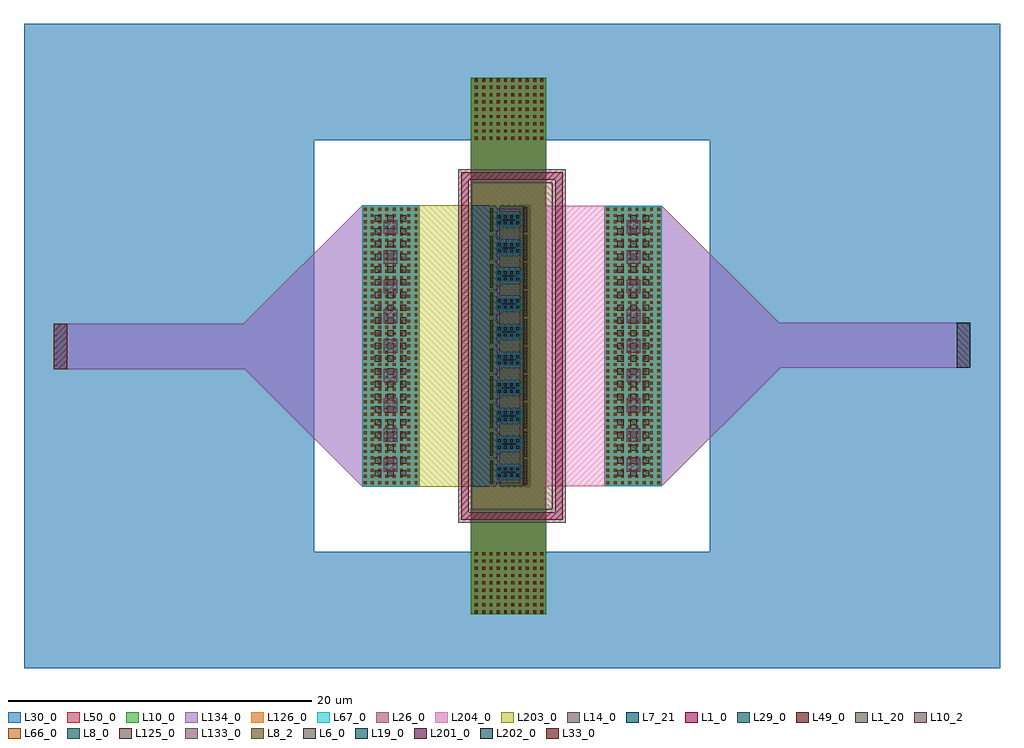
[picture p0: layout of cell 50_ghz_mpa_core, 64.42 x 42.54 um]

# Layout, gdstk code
from math import pi, radians
import gdstk
lib = gdstk.Library(unit=1e-6, precision=1e-09)
def R(c, l, rs):  # rectangles x0, y0, x1, y1
    for r in rs: c.add(gdstk.rectangle(r[:2], r[2:], *l))
def A(c, l, x, y, w, h, nx, ny, dx, dy):  # array of equal rectangles
    R(c, l, [(x+i*dx, y+j*dy, x+i*dx+w, y+j*dy+h) for i in range(nx) for j in range(ny)])
def P(c, l, *ps):  # polygons
    for p in ps: c.add(gdstk.Polygon(p, *l))
L1_0 = (1, 0)
L1_20 = (1, 20)
L6_0 = (6, 0)
L7_21 = (7, 21)
L8_0 = (8, 0)
L8_2 = (8, 2)
L10_0 = (10, 0)
L10_2 = (10, 2)
L14_0 = (14, 0)
L19_0 = (19, 0)
L26_0 = (26, 0)
L29_0 = (29, 0)
L30_0 = (30, 0)
L33_0 = (33, 0)
L49_0 = (49, 0)
L50_0 = (50, 0)
L66_0 = (66, 0)
L67_0 = (67, 0)
L125_0 = (125, 0)
L126_0 = (126, 0)
L133_0 = (133, 0)
L134_0 = (134, 0)
L201_0 = (201, 0)
L202_0 = (202, 0)
L203_0 = (203, 0)
L204_0 = (204, 0)

npn13g2_1 = lib.new_cell('npn13G2$1')
A(npn13g2_1, L1_0, -0.925, 0.98, 1.85, 0.3, 10, 1, 1.85, 0)
P(npn13g2_1, L1_0, [(-3.15,-3.13),(-3.15,3.58),(19.3,3.58),(19.3,3.08),(-2.65,3.08),(-2.65,-2.63),(19.3,-2.63),(19.3,3.58),(19.8,3.58),(19.8,-3.13)])
P(npn13g2_1, L1_20, [(-0.235,-0.83),(-0.445,-0.62),(-0.925,-0.62),(-0.925,0.98),(0.925,0.98),(0.925,-0.62),(0.445,-0.62),(0.235,-0.83)],
  [(1.615,-0.83),(1.405,-0.62),(0.925,-0.62),(0.925,0.98),(2.775,0.98),(2.775,-0.62),(2.295,-0.62),(2.085,-0.83)],
  [(3.465,-0.83),(3.255,-0.62),(2.775,-0.62),(2.775,0.98),(4.625,0.98),(4.625,-0.62),(4.145,-0.62),(3.935,-0.83)],
  [(5.315,-0.83),(5.105,-0.62),(4.625,-0.62),(4.625,0.98),(6.475,0.98),(6.475,-0.62),(5.995,-0.62),(5.785,-0.83)],
  [(7.165,-0.83),(6.955,-0.62),(6.475,-0.62),(6.475,0.98),(8.325,0.98),(8.325,-0.62),(7.845,-0.62),(7.635,-0.83)],
  [(9.015,-0.83),(8.805,-0.62),(8.325,-0.62),(8.325,0.98),(10.175,0.98),(10.175,-0.62),(9.695,-0.62),(9.485,-0.83)],
  [(10.865,-0.83),(10.655,-0.62),(10.175,-0.62),(10.175,0.98),(12.025,0.98),(12.025,-0.62),(11.545,-0.62),(11.335,-0.83)],
  [(12.715,-0.83),(12.505,-0.62),(12.025,-0.62),(12.025,0.98),(13.875,0.98),(13.875,-0.62),(13.395,-0.62),(13.185,-0.83)],
  [(14.565,-0.83),(14.355,-0.62),(13.875,-0.62),(13.875,0.98),(15.725,0.98),(15.725,-0.62),(15.245,-0.62),(15.035,-0.83)],
  [(16.415,-0.83),(16.205,-0.62),(15.725,-0.62),(15.725,0.98),(17.575,0.98),(17.575,-0.62),(17.095,-0.62),(16.885,-0.83)])
A(npn13g2_1, L6_0, -0.76, -1.22, 1.52, 0.16, 10, 1, 1.85, 0)
A(npn13g2_1, L6_0, -0.825, 1.05, 1.65, 0.16, 10, 1, 1.85, 0)
P(npn13g2_1, L7_21, [(-0.975,-2.43),(-0.975,-0.9),(-0.555,-0.48),(-0.555,0.69),(-0.305,0.94),(0.305,0.94),(0.555,0.69),(0.555,-0.48),(0.975,-0.9),(0.975,-2.43)],
  [(0.875,-2.43),(0.875,-0.9),(1.295,-0.48),(1.295,0.69),(1.545,0.94),(2.155,0.94),(2.405,0.69),(2.405,-0.48),(2.825,-0.9),(2.825,-2.43)],
  [(2.725,-2.43),(2.725,-0.9),(3.145,-0.48),(3.145,0.69),(3.395,0.94),(4.005,0.94),(4.255,0.69),(4.255,-0.48),(4.675,-0.9),(4.675,-2.43)],
  [(4.575,-2.43),(4.575,-0.9),(4.995,-0.48),(4.995,0.69),(5.245,0.94),(5.855,0.94),(6.105,0.69),(6.105,-0.48),(6.525,-0.9),(6.525,-2.43)],
  [(6.425,-2.43),(6.425,-0.9),(6.845,-0.48),(6.845,0.69),(7.095,0.94),(7.705,0.94),(7.955,0.69),(7.955,-0.48),(8.375,-0.9),(8.375,-2.43)],
  [(8.275,-2.43),(8.275,-0.9),(8.695,-0.48),(8.695,0.69),(8.945,0.94),(9.555,0.94),(9.805,0.69),(9.805,-0.48),(10.225,-0.9),(10.225,-2.43)],
  [(10.125,-2.43),(10.125,-0.9),(10.545,-0.48),(10.545,0.69),(10.795,0.94),(11.405,0.94),(11.655,0.69),(11.655,-0.48),(12.075,-0.9),(12.075,-2.43)],
  [(11.975,-2.43),(11.975,-0.9),(12.395,-0.48),(12.395,0.69),(12.645,0.94),(13.255,0.94),(13.505,0.69),(13.505,-0.48),(13.925,-0.9),(13.925,-2.43)],
  [(13.825,-2.43),(13.825,-0.9),(14.245,-0.48),(14.245,0.69),(14.495,0.94),(15.105,0.94),(15.355,0.69),(15.355,-0.48),(15.775,-0.9),(15.775,-2.43)],
  [(15.675,-2.43),(15.675,-0.9),(16.095,-0.48),(16.095,0.69),(16.345,0.94),(16.955,0.94),(17.205,0.69),(17.205,-0.48),(17.625,-0.9),(17.625,-2.43)])
A(npn13g2_1, L8_0, -0.35, -0.785, 0.7, 1.555, 10, 1, 1.85, 0)
R(npn13g2_1, L8_0, [(-0.975,-1.26,17.625,-1.02), (-0.925,1.02,17.575,1.46)])
R(npn13g2_1, L8_2, [(-0.975,-1.26,17.625,-1.02), (-0.925,1.02,17.575,1.46)])
R(npn13g2_1, L10_0, [(-0.925,-0.785,17.575,0.77)])
R(npn13g2_1, L10_2, [(-0.745,-0.785,17.395,0.77)])
P(npn13g2_1, L14_0, [(-3.35,-3.33),(-3.35,3.78),(19.1,3.78),(19.1,2.88),(-2.45,2.88),(-2.45,-2.43),(19.1,-2.43),(19.1,3.78),(20,3.78),(20,-3.33)])
A(npn13g2_1, L19_0, -0.3, -0.72, 0.19, 0.19, 1, 4, 0, 0.41)
A(npn13g2_1, L19_0, 0.11, -0.72, 0.19, 0.19, 1, 4, 0, 0.41)
A(npn13g2_1, L19_0, 1.55, -0.72, 0.19, 0.19, 1, 4, 0, 0.41)
A(npn13g2_1, L19_0, 1.96, -0.72, 0.19, 0.19, 1, 4, 0, 0.41)
A(npn13g2_1, L19_0, 3.4, -0.72, 0.19, 0.19, 1, 4, 0, 0.41)
A(npn13g2_1, L19_0, 3.81, -0.72, 0.19, 0.19, 1, 4, 0, 0.41)
A(npn13g2_1, L19_0, 5.25, -0.72, 0.19, 0.19, 1, 4, 0, 0.41)
A(npn13g2_1, L19_0, 5.66, -0.72, 0.19, 0.19, 1, 4, 0, 0.41)
A(npn13g2_1, L19_0, 7.1, -0.72, 0.19, 0.19, 1, 4, 0, 0.41)
A(npn13g2_1, L19_0, 7.51, -0.72, 0.19, 0.19, 1, 4, 0, 0.41)
A(npn13g2_1, L19_0, 8.95, -0.72, 0.19, 0.19, 1, 4, 0, 0.41)
A(npn13g2_1, L19_0, 9.36, -0.72, 0.19, 0.19, 1, 4, 0, 0.41)
A(npn13g2_1, L19_0, 10.8, -0.72, 0.19, 0.19, 1, 4, 0, 0.41)
A(npn13g2_1, L19_0, 11.21, -0.72, 0.19, 0.19, 1, 4, 0, 0.41)
A(npn13g2_1, L19_0, 12.65, -0.72, 0.19, 0.19, 1, 4, 0, 0.41)
A(npn13g2_1, L19_0, 13.06, -0.72, 0.19, 0.19, 1, 4, 0, 0.41)
A(npn13g2_1, L19_0, 14.5, -0.72, 0.19, 0.19, 1, 4, 0, 0.41)
A(npn13g2_1, L19_0, 14.91, -0.72, 0.19, 0.19, 1, 4, 0, 0.41)
A(npn13g2_1, L19_0, 16.35, -0.72, 0.19, 0.19, 1, 4, 0, 0.41)
A(npn13g2_1, L19_0, 16.76, -0.72, 0.19, 0.19, 1, 4, 0, 0.41)
R(npn13g2_1, L26_0, [(-2.45,-2.43,19.1,2.88)])
A(npn13g2_1, L33_0, -0.035, -0.45, 0.07, 0.9, 10, 1, 1.85, 0)
npn13g2_1.add(gdstk.Label('npn13G2', (0.015,2.31), layer=63, texttype=0))
npn13g2_1.add(gdstk.Label('C', (8.325,1.24), layer=63, texttype=0))
npn13g2_1.add(gdstk.Label('B', (8.325,-1.14), layer=63, texttype=0))
npn13g2_1.add(gdstk.Label('E', (8.325,-0.007), layer=63, texttype=0))
npn13g2_1.add(gdstk.Label('Ae=10*1*0.07*0.90', (-1.977,-2.546), layer=63, texttype=0))

via_stack = lib.new_cell('via_stack')
R(via_stack, L10_0, [(-2.305,-2.065,2.305,2.065)])
A(via_stack, L29_0, -2.255, -2.015, 0.19, 0.19, 10, 9, 0.48, 0.48)
R(via_stack, L30_0, [(-2.305,-2.065,2.305,2.065)])
A(via_stack, L49_0, -2.255, -2.015, 0.19, 0.19, 10, 9, 0.48, 0.48)
R(via_stack, L50_0, [(-2.305,-2.065,2.305,2.065)])

c_50_ghz_mpa_core = lib.new_cell('50_ghz_mpa_core')
R(c_50_ghz_mpa_core, L10_0, [(-44.935,-60.325,-39.93,-33.375), (-52.09,-51.925,-48.335,-33.325), (-52.09,-51.925,-48.34,-33.325), (-36.065,-51.875,-32.31,-33.375), (-36.065,-51.875,-32.315,-33.375), (-44.935,-33.375,-39.93,-24.935)])
A(c_50_ghz_mpa_core, L29_0, -51.99, -51.74, 0.19, 0.19, 8, 45, 0.48, 0.41)
A(c_50_ghz_mpa_core, L29_0, -35.965, -51.74, 0.19, 0.19, 8, 45, 0.48, 0.41)
R(c_50_ghz_mpa_core, L30_0, [(-55.255,-63.9,-29.145,-56.195), (-74.41,-63.89,-72.46,-21.36), (-72.46,-63.89,-55.255,-21.36), (-29.145,-63.89,-11.94,-21.36), (-11.94,-63.89,-9.99,-21.36), (-44.935,-60.325,-39.93,-24.935), (-52.09,-51.925,-48.335,-33.325), (-52.09,-51.925,-48.34,-33.325), (-52.09,-51.925,-48.34,-33.325), (-36.065,-51.875,-32.31,-33.375), (-36.065,-51.875,-32.315,-33.375), (-36.065,-51.875,-32.315,-33.375), (-55.255,-29.065,-29.145,-21.36)])
A(c_50_ghz_mpa_core, L49_0, -51.99, -51.74, 0.19, 0.19, 8, 45, 0.48, 0.41)
A(c_50_ghz_mpa_core, L49_0, -35.965, -51.74, 0.19, 0.19, 8, 45, 0.48, 0.41)
R(c_50_ghz_mpa_core, L50_0, [(-44.935,-60.325,-39.93,-24.935), (-52.09,-51.925,-48.335,-33.325), (-52.09,-51.925,-48.34,-33.325), (-52.09,-51.925,-48.34,-33.325), (-36.065,-51.875,-32.31,-33.375), (-36.065,-51.875,-32.315,-33.375), (-36.065,-51.875,-32.315,-33.375)])
A(c_50_ghz_mpa_core, L66_0, -51.99, -51.74, 0.19, 0.19, 8, 45, 0.48, 0.41)
A(c_50_ghz_mpa_core, L66_0, -35.965, -51.74, 0.19, 0.19, 8, 45, 0.48, 0.41)
R(c_50_ghz_mpa_core, L67_0, [(-52.09,-51.925,-48.335,-33.325), (-52.09,-51.925,-48.34,-33.325), (-52.09,-51.925,-48.34,-33.325), (-36.065,-51.875,-32.31,-33.375), (-36.065,-51.875,-32.315,-33.375), (-36.065,-51.875,-32.315,-33.375)])
A(c_50_ghz_mpa_core, L125_0, -51.265, -51.235, 0.42, 0.42, 3, 21, 0.84, 0.84)
A(c_50_ghz_mpa_core, L125_0, -35.24, -51.235, 0.42, 0.42, 3, 21, 0.84, 0.84)
R(c_50_ghz_mpa_core, L126_0, [(-52.09,-51.925,-48.335,-33.325), (-52.09,-51.925,-48.34,-33.325), (-52.09,-51.925,-48.34,-33.325), (-36.065,-51.875,-32.31,-33.375), (-36.065,-51.875,-32.315,-33.375), (-36.065,-51.875,-32.315,-33.375)])
A(c_50_ghz_mpa_core, L133_0, -50.665, -50.915, 0.9, 0.9, 1, 9, 0, 1.96)
A(c_50_ghz_mpa_core, L133_0, -34.64, -50.915, 0.9, 0.9, 1, 9, 0, 1.96)
R(c_50_ghz_mpa_core, L134_0, [(-52.09,-51.925,-48.335,-33.325), (-52.09,-51.925,-48.34,-33.325), (-36.065,-51.875,-32.31,-33.375), (-36.065,-51.875,-32.315,-33.375), (-72.46,-44.175,-52.09,-41.175), (-32.31,-44.08,-11.94,-41.08)])
P(c_50_ghz_mpa_core, L134_0, [(-59.94,-41.175),(-52.09,-33.325),(-52.09,-41.175)],
  [(-52.09,-51.925),(-59.845,-44.175),(-52.09,-44.175)],
  [(-32.31,-51.875),(-32.31,-44.08),(-24.465,-44.08)],
  [(-32.31,-41.08),(-32.31,-33.375),(-24.555,-41.08)])
R(c_50_ghz_mpa_core, L201_0, [(-72.46,-44.175,-71.54,-41.175)])
R(c_50_ghz_mpa_core, L202_0, [(-12.86,-44.08,-11.94,-41.08)])
R(c_50_ghz_mpa_core, L203_0, [(-48.335,-51.925,-44.935,-33.33)])
R(c_50_ghz_mpa_core, L204_0, [(-39.93,-51.875,-36.065,-33.375)])
c_50_ghz_mpa_core.add(gdstk.Reference(npn13g2_1, (-42.425,-34.3), rotation=3*pi/2))
c_50_ghz_mpa_core.add(gdstk.Reference(via_stack, (-42.39,-58.26)))
c_50_ghz_mpa_core.add(gdstk.Reference(via_stack, (-42.39,-27)))

lib.write_gds('50_ghz_mpa_core.gds')
